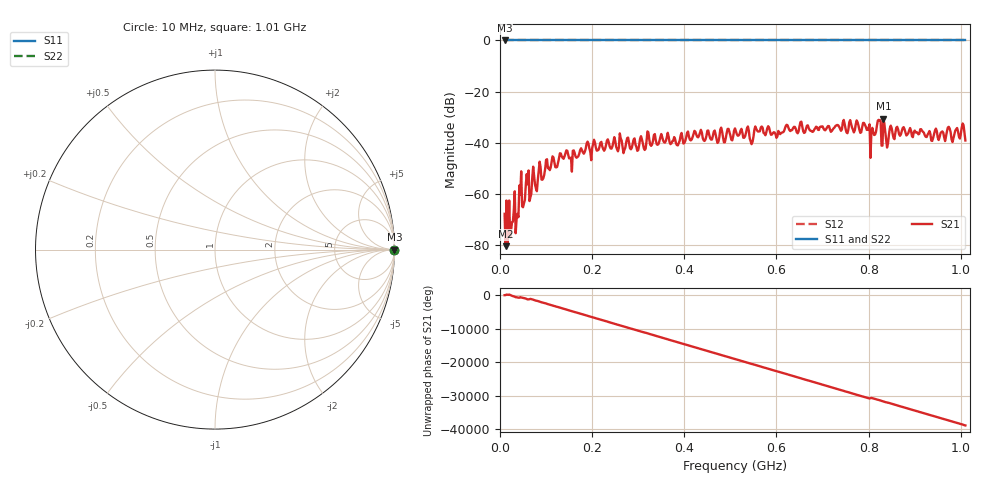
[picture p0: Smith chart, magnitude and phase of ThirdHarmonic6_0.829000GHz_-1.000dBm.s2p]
! 8/16/2025 3:32:04 AM
! C:\ANRITSUVNA\TEMP\TEMP.S2P
! CHANNEL.1
! TR.MEASUREMENT
! RAW.DATA
! RF.CORRECTION.OFF
! AVERAGING.OFF
! IF.BANDWIDTH: 5KHZ
! SWEEPTYPE:  FREQ.SWEEP(Linear)
! Reference Plane Port Info
! PORT:  PORT1  PORT2
! DISTANCE:  0  m  0  m
! TIME:  0  s  0  s
! PHASE.OFFSET:  0  deg.  0  deg.
! LOSS:  0  dB  0  dB
! REF.LOSS:  0  dB  0  dB
! REF.FREQ:  0  Hz  0  Hz
! Power Info
! POWER:  -20  dBm  -20  dBm
! EFF.POWER:  -20  dBm  -20  dBm
! SOURCE.ATTEN:  0  dB  0  dB
! TEST.ATTEN:  0  dB  0  dB
# GHZ S RI R 50.0
! FREQ.GHZ  S11RE  S11IM  S21RE  S21IM  S12RE  S12IM  S22RE  S22IM
!; PortSelection: Port_12
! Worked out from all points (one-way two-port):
!   501 points, 10 MHz to 1.01 GHz, reference 50 ohm
!   highest |S21| = -30.68 dB at 832 MHz (marker M1); lowest = -80.6 dB at 12 MHz (marker M2)
!   lowest |S11| = 0.0 dB at 10 MHz (marker M3)
!   |S11| at or under -10 dB: nowhere
!   |S22| runs from 0.0 to 0.0 dB; largest |S21 - S12| = 1
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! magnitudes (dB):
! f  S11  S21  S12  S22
! 10 MHz  0.0  -67.9  0.0  0.0
! 12 MHz  0.0  -80.6  0.0  0.0
! 26 MHz  0.0  -71.2  0.0  0.0
! 28 MHz  0.0  -71.0  0.0  0.0
! 38 MHz  0.0  -67.9  0.0  0.0
! 42 MHz  0.0  -56.8  0.0  0.0
! 52 MHz  0.0  -63.8  0.0  0.0
! 58 MHz  0.0  -52.3  0.0  0.0
! 64 MHz  0.0  -62.9  0.0  0.0
! 102 MHz  0.0  -46.5  0.0  0.0
! 178 MHz  0.0  -43.0  0.0  0.0
! 344 MHz  0.0  -40.6  0.0  0.0
! 510 MHz  0.0  -34.4  0.0  0.0
! 546 MHz  0.0  -40.6  0.0  0.0
! 556 MHz  0.0  -34.6  0.0  0.0
! 678 MHz  0.0  -35.8  0.0  0.0
! 790 MHz  0.0  -32.3  0.0  0.0
! 808 MHz  0.0  -34.2  0.0  0.0
! 822 MHz  0.0  -31.1  0.0  0.0
! 832 MHz  0.0  -30.7  0.0  0.0
! 844 MHz  0.0  -37.0  0.0  0.0
! 1.01 GHz  0.0  -39.2  0.0  0.0
